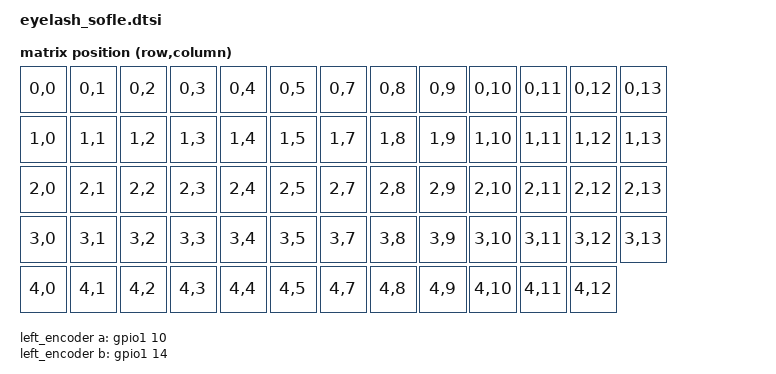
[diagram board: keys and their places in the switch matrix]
/*
*
* Copyright (c) 2021 Darryl deHaan
* SPDX-License-Identifier: MIT
*
*/
#include <dt-bindings/led/led.h>
#include <dt-bindings/zmk/matrix_transform.h>
#include "eyelash_sofle-layouts.dtsi"

/ {

    chosen {
        zmk,kscan = &kscan0;
        zmk,battery = &vbatt;
        zmk,underglow = &led_strip;
        zmk,backlight = &backlight;
        zmk,physical-layout = &eyelash_sofle_layout;

    };

    status_leds: status_leds {
        compatible = "eyelash,status-leds";
        zero-led-index = <0>;
        one-led-index = <1>;
        two-led-index = <2>;
        three-led-index = <3>;
        four-led-index = <4>;
        five-led-index = <5>;
        six-led-index = <6>;
    };

    led_overlay: led_overlay {
        compatible = "eyelash,led-strip-overlay";
        target = <&led_strip>;
        chain-length = <7>;
    };

    backlight: pwmleds {
        compatible = "pwm-leds";
        pwm_led_0 {
            pwms = <&pwm0 0 PWM_MSEC(1) PWM_POLARITY_NORMAL>;
        };
    };

    left_encoder: encoder_left {
        compatible = "alps,ec11";
        a-gpios = <&gpio1 10 (GPIO_ACTIVE_HIGH | GPIO_PULL_UP)>;
        b-gpios = <&gpio1 14 (GPIO_ACTIVE_HIGH | GPIO_PULL_UP)>;
        steps = <40>;
        status = "disabled";
    };

    sensors {
        compatible = "zmk,keymap-sensors";
        triggers-per-rotation = <20>;
        sensors = <&left_encoder>;
    };

    kscan0: kscan {
        wakeup-source;
        diode-direction = "col2row";
    };

    ext-power {
        compatible = "zmk,ext-power-generic";
        control-gpios = <&gpio0 13 GPIO_ACTIVE_HIGH>;
        init-delay-ms = <50>;
    };

    vbatt: vbatt {
        compatible = "zmk,battery-nrf-vddh";
    };

    default_transform: keymap_transform_0 {
        compatible = "zmk,matrix-transform";
        columns = <14>;
        rows = <5>;
        map = <
            RC(0,0) RC(0,1) RC(0,2) RC(0,3) RC(0,4) RC(0,5)  RC(0,7) RC(0,8) RC(0,9) RC(0,10) RC(0,11) RC(0,12) RC(0,13)
            RC(1,0) RC(1,1) RC(1,2) RC(1,3) RC(1,4) RC(1,5)  RC(1,7) RC(1,8) RC(1,9) RC(1,10) RC(1,11) RC(1,12) RC(1,13)
            RC(2,0) RC(2,1) RC(2,2) RC(2,3) RC(2,4) RC(2,5)  RC(2,7) RC(2,8) RC(2,9) RC(2,10) RC(2,11) RC(2,12) RC(2,13)
            RC(3,0) RC(3,1) RC(3,2) RC(3,3) RC(3,4) RC(3,5)  RC(3,7) RC(3,8) RC(3,9) RC(3,10) RC(3,11) RC(3,12) RC(3,13)
            RC(4,0) RC(4,1) RC(4,2) RC(4,3) RC(4,4) RC(4,5)  RC(4,7) RC(4,8) RC(4,9) RC(4,10) RC(4,11) RC(4,12)
        >;
    };
};

&pinctrl {

    spi0_default: spi0_default {
        group1 {
            psels = <NRF_PSEL(SPIM_SCK, 0, 20)>,
                <NRF_PSEL(SPIM_MOSI, 0, 17)>,
                <NRF_PSEL(SPIM_MISO, 0, 25)>;
        };
    };

    spi0_sleep: spi0_sleep {
        group1 {
            psels = <NRF_PSEL(SPIM_SCK, 0, 20)>,
                <NRF_PSEL(SPIM_MOSI, 0, 17)>,
                <NRF_PSEL(SPIM_MISO, 0, 25)>;
            low-power-enable;
        };
    };

    spi3_default: spi3_default {
        group1 {
            psels = <NRF_PSEL(SPIM_MOSI, 1, 12)>; // WS2812_VEXT_DATA
        };
    };

    spi3_sleep: spi3_sleep {
        group1 {
            psels = <NRF_PSEL(SPIM_MOSI, 1, 12)>;
            low-power-enable;
        };
    };
    pwm0_default: pwm0_default {
        group1 {
            psels = <NRF_PSEL(PWM_OUT0, 1, 13)>;
        };
    };
    pwm0_sleep: pwm0_sleep {
        group1 {
            psels = <NRF_PSEL(PWM_OUT0, 1, 13)>;
            low-power-enable;
        };
    };
};

/*
 * Sofle ZMK - WS2812 RGB LED configuration
 *
 * Cada metade do teclado possui 29 LEDs WS2812.
 *
 * IMPORTANTE:
 * Este arquivo configura UMA metade do teclado por firmware.
 * Como o Sofle é split, o mesmo arquivo pode ser usado/configurado
 * para cada lado, desde que o SPI/pinos usados sejam os mesmos.
 *
 * O chain-length = <29> informa ao driver que existem 29 LEDs
 * endereçáveis individualmente na cadeia WS2812.
 *
 * Exemplo da cadeia física:
 *
 *   MCU -> LED 0 -> LED 1 -> LED 2 -> ... -> LED 27 -> LED 28
 *
 * Cada LED pode receber uma cor diferente. O índice lógico do LED
 * não precisa necessariamente corresponder à ordem visual das teclas;
 * isso depende de como os LEDs foram ligados fisicamente no PCB.
 */

&spi3 {
    /*
     * Usa o periférico SPI3 do nRF para gerar o sinal necessário
     * para os LEDs WS2812.
     */
    compatible = "nordic,nrf-spim";
    status = "okay";

    /*
     * Seleciona os pinos usados pelo SPI3.
     *
     * spi3_default = configuração normal dos pinos.
     * spi3_sleep   = configuração usada quando o periférico entra
     *                em estado de baixo consumo.
     */
    pinctrl-0 = <&spi3_default>;
    pinctrl-1 = <&spi3_sleep>;
    pinctrl-names = "default", "sleep";

    /*
     * Define a cadeia de LEDs WS2812 conectada ao SPI3.
     */
    led_strip: ws2812@0 {
        /*
         * Driver do ZMK/Zephyr para WS2812 controlado através de SPI.
         */
        compatible = "worldsemi,ws2812-spi";

        status = "okay";

        /*
         * Necessário pelo binding de SPI.
         * Para este dispositivo, o valor não representa um LED específico.
         */
        reg = <0>;

        /*
         * Frequência usada pelo SPI para codificar os bits do protocolo
         * WS2812.
         */
        spi-max-frequency = <4000000>;

        /*
         * CADA METADE possui 29 LEDs.
         *
         * Portanto:
         *
         *   LED 0
         *   LED 1
         *   ...
         *   LED 28
         *
         * Total = 29 LEDs.
         *
         * Não coloque 58 aqui. O firmware de cada metade controla
         * sua própria cadeia de 29 LEDs.
         */
        chain-length = <7>;

        /*
         * Representação de um bit "1" do protocolo WS2812 através
         * de um frame SPI.
         */
        spi-one-frame = <0x70>;

        /*
         * Representação de um bit "0" do protocolo WS2812 através
         * de um frame SPI.
         */
        spi-zero-frame = <0x40>;

        /*
         * Define a ordem dos canais de cor do LED.
         *
         * Apesar de muitos LEDs serem chamados de RGB, o WS2812
         * normalmente recebe os dados na ordem GRB.
         *
         * Portanto:
         *   primeiro  -> Green
         *   segundo   -> Red
         *   terceiro  -> Blue
         */
        color-mapping =
            <LED_COLOR_ID_GREEN
             LED_COLOR_ID_RED
             LED_COLOR_ID_BLUE>;
    };
};


zephyr_udc0: &usbd {
    compatible = "nordic,nrf-usbd";
    status = "okay";
};

&pwm0 {
    status = "okay";
    pinctrl-0 = <&pwm0_default>;
    pinctrl-1 = <&pwm0_sleep>;
    pinctrl-names = "default", "sleep";
};

nice_view_spi: &spi0 {
    compatible = "nordic,nrf-spim";
    pinctrl-0 = <&spi0_default>;
    pinctrl-1 = <&spi0_sleep>;
    pinctrl-names = "default", "sleep";
    cs-gpios = <&gpio0 6 GPIO_ACTIVE_HIGH>;
};              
